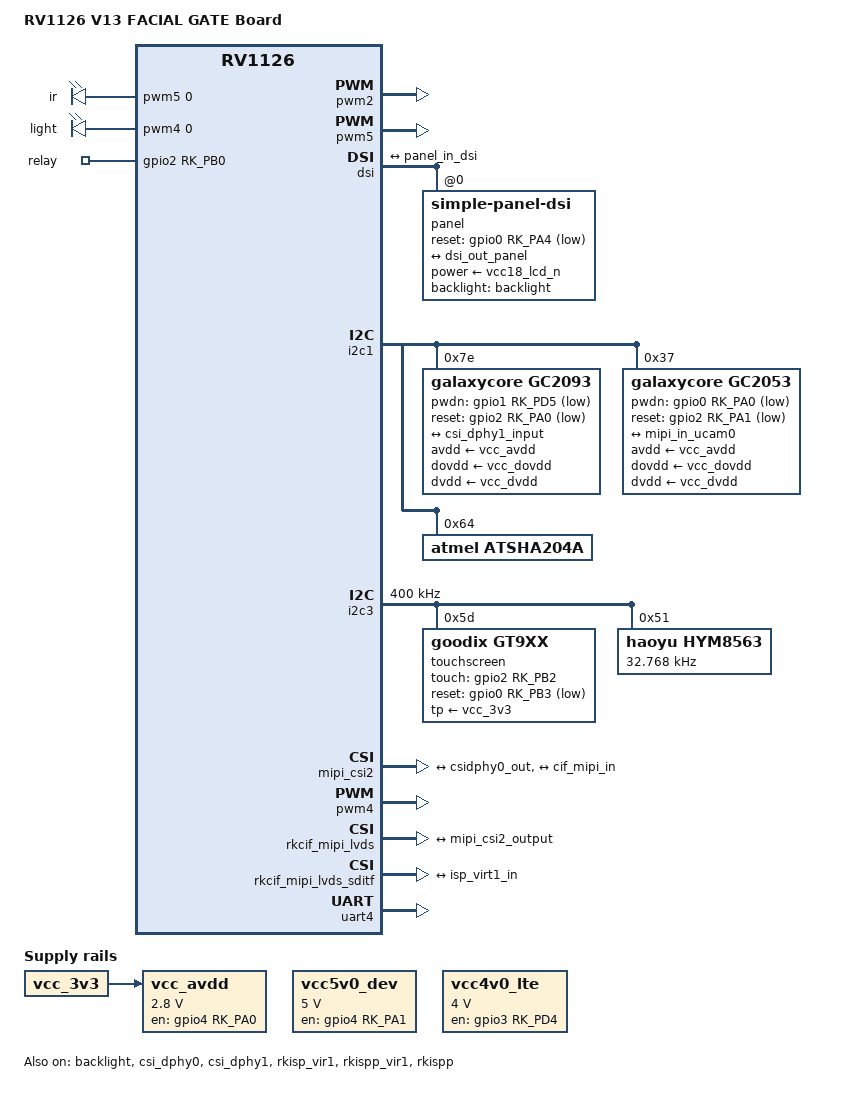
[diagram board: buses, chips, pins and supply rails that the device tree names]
// SPDX-License-Identifier: (GPL-2.0+ OR MIT)
/*
 * Copyright (c) 2020 Rockchip Electronics Co., Ltd.
 */
/dts-v1/;
#include "rv1126.dtsi"
#include "rv1126-evb-v12.dtsi"
/ {
	model = "RV1126 V13 FACIAL GATE Board";
	compatible = "rockchip,rv1109-evb-ddr3-v12-facial-gate", "rockchip,rv1126";

	chosen {
		bootargs = "earlycon=uart8250,mmio32,0xff570000 console=ttyFIQ0 root=PARTUUID=614e0000-0000 rootfstype=ext4 rootwait snd_aloop.index=7";
	};

	pwmleds {
		compatible = "pwm-leds";

		pwmi_ir {
			label = "ir";
			pwms = <&pwm5 0 25000 0>;
			max-brightness = <255>;
		};

		pwmi_light {
			label = "light";
			pwms = <&pwm4 0 25000 0>;
			max-brightness = <255>;
		};
	};

    gpio-leds {
        compatible = "gpio-leds";

        relay {
            label = "relay";
            gpios = <&gpio2 RK_PB0 GPIO_ACTIVE_HIGH>;
        };
    };

	vcc5v0_dev: vcc5v0-dev {
		compatible = "regulator-fixed";
		regulator-name = "vcc5v0_dev";
		gpio = <&gpio4 RK_PA1 GPIO_ACTIVE_HIGH>;
		enable-active-high;
		regulator-always-on;
		regulator-boot-on;
		regulator-min-microvolt = <5000000>;
		regulator-max-microvolt = <5000000>;
	};

	vcc_avdd: vcc-avdd {
		compatible = "regulator-fixed";
		regulator-name = "vcc_avdd";
		gpio = <&gpio4 RK_PA0 GPIO_ACTIVE_HIGH>;
		enable-active-high;
        regulator-boot-on;
        vin-supply = <&vcc_3v3>;
		regulator-min-microvolt = <2800000>;
		regulator-max-microvolt = <2800000>;
	};

	vcc4v0_lte: vcc4v0-lte {
		compatible = "regulator-fixed";
		regulator-name = "vcc4v0_lte";
		gpio = <&gpio3 RK_PD4 GPIO_ACTIVE_HIGH>;
		enable-active-high;
		regulator-always-on;
		regulator-boot-on;
		regulator-min-microvolt = <4000000>;
		regulator-max-microvolt = <4000000>;
	};
};

&pinctrl {
    lcd_rst {
        lcd_rst_gpio: lcd-rst-gpio {
            rockchip,pins = <0 RK_PA4 RK_FUNC_GPIO &pcfg_pull_none>;
        };
    };

    dev_pwr {
        dev_pwr_en: dev-pwr-en {
            rockchip,pins = <4 RK_PA1 RK_FUNC_GPIO &pcfg_pull_none>;
        };
    };
};

&pwm2 {
	status = "okay";
};

&pwm5 {
	status = "okay";
	pinctrl-names = "active";
	pinctrl-0 = <&pwm5m0_pins_pull_down>;
};

&backlight {
    pwms = <&pwm2 0 25000 0>;
	status = "okay";
};

&vcc18_lcd_n {
    gpio = <&gpio1 RK_PD0 GPIO_ACTIVE_HIGH>;
    vin-supply = <&vcc3v3_sys>;
};

&dsi {
	status = "okay";

    rockchip,lane-rate = <480>;
	panel@0 {
		compatible = "simple-panel-dsi";
		reg = <0>;
		backlight = <&backlight>;
		power-supply = <&vcc18_lcd_n>;
		prepare-delay-ms = <5>;
		reset-delay-ms = <1>;
		init-delay-ms = <80>;
		disable-delay-ms = <10>;
		unprepare-delay-ms = <5>;

        reset-gpios = <&gpio0 RK_PA4 GPIO_ACTIVE_LOW>;
        pinctrl-names = "default";
        pinctrl-0 = <&lcd_rst_gpio>;

		width-mm = <107>;
		height-mm = <172>;

		dsi,flags = <(MIPI_DSI_MODE_VIDEO | MIPI_DSI_MODE_VIDEO_BURST |
			      MIPI_DSI_MODE_LPM | MIPI_DSI_MODE_EOT_PACKET)>;
		dsi,format = <MIPI_DSI_FMT_RGB888>;
		dsi,lanes = <4>;

        panel-init-sequence = [
			15 00 02 ee 50
			39 00 03 ea 85 55
			15 00 02 30 00
			39 00 04 39 02 07 10
			39 00 03 90 a1 b1
			15 00 02 24 20
			15 00 02 99 00
			15 00 02 93 38
			15 00 02 95 74
			15 00 02 97 05
			15 00 02 7a 00
			15 00 02 ee 60
			15 00 02 21 01
			15 00 02 25 70
			15 00 02 27 24
			15 00 02 29 89
			15 00 02 2a 26
			15 00 02 30 01
			15 00 02 34 2f
			15 00 02 3a a4
			15 00 02 3b 00
			15 00 02 3c 45
			15 00 02 3d 11
			15 00 02 3e 93
			15 00 02 42 55
			15 00 02 43 55
			15 00 02 7f 24
			15 00 02 80 24
			15 00 02 89 55
			15 00 02 8b 90
			15 00 02 8d 45
			15 00 02 91 11
			15 00 02 92 22
			15 00 02 93 93
			15 00 02 9a 00
			15 00 02 9c 80
			39 00 06 5a 15 2f 38 41 42
			39 00 06 47 15 2f 38 41 42
			39 00 06 4c 4f 4a 5f 47 49
			39 00 06 5f 4f 4a 5f 47 49
			39 00 06 64 4b 2f 41 39 43
			39 00 06 51 4b 2f 41 39 43
			39 00 05 69 45 4f 5e 7f
			39 00 05 56 45 4f 5e 7f
			15 00 02 ee 70
			39 00 06 00 01 04 00 01 05
			39 00 06 05 08 55 01 00 00
			39 00 06 0a 00 00 05 5a 00
			39 00 06 10 03 06 00 01 00
			39 00 06 15 00 0f 0d 08 00
			39 00 03 29 05 5a
			39 00 06 30 08 07 55 7d 5d
			39 00 06 35 08 07 08 55 7d
			39 00 03 3a 5d 08
			39 00 06 60 3f 3c 20 21 10
			39 00 06 65 12 14 16 00 3c
			39 00 06 6a 3c 3c 3c 3c 3c
			39 00 06 6f 04 3c 3c 3c 3c
			39 00 03 74 3c 3c
			39 00 06 80 3f 3c 20 21 11
			39 00 06 85 13 15 17 01 3c
			39 00 06 8a 3c 3c 3c 3c 3c
			39 00 06 8f 05 3c 3c 3c 3c
			39 00 03 94 3c 3c
			15 00 02 ee 50
			39 00 03 ea 7a aa
			39 00 03 ea 00 00
			15 00 02 ee 00
			05 64 01 11
			05 64 01 29
            ];

        display-timings {
			native-mode = <&timing0>;

			timing0: timing0 {
				clock-frequency = <77000000>;
				hactive = <800>;
				vactive = <1280>;
				hfront-porch = <140>;
				hsync-len = <20>;
				hback-porch = <20>;
				vfront-porch = <9>;
				vsync-len = <4>;
				vback-porch = <8>;
				hsync-active = <0>;
				vsync-active = <0>;
				de-active = <0>;
				pixelclk-active = <0>;
			};
		};

		ports {
			#address-cells = <1>;
			#size-cells = <0>;

			port@0 {
				reg = <0>;
				panel_in_dsi: endpoint {
					remote-endpoint = <&dsi_out_panel>;
				};
			};
		};
	};

	ports {
		#address-cells = <1>;
		#size-cells = <0>;

		port@1 {
			reg = <1>;
			dsi_out_panel: endpoint {
				remote-endpoint = <&panel_in_dsi>;
			};
		};
	};
};

&csi_dphy0 {
	status = "okay";
	ports {
		port@0 {
			mipi_in_ucam0: endpoint@1 {
				remote-endpoint = <&ucam_out0>;
				data-lanes = <1 2>;
			};
		};
		port@1 {
			csidphy0_out: endpoint@0 {
				remote-endpoint = <&mipi_csi2_input>;
				data-lanes = <1 2>;
			};
		};
	};
};

&csi_dphy1 {
	status = "okay";
	ports {
		port@0 {
			csi_dphy1_input: endpoint@1 {
				remote-endpoint = <&ucam_out1>;
				data-lanes = <1 2>;
			};
		};
		port@1 {
			csi_dphy1_output: endpoint@0 {
				remote-endpoint = <&isp_in>;
				data-lanes = <1 2>;
			};
		};
	};
};

&i2c1 {
    /delete-node/ ar0230@10;
    /delete-node/ os04a10@36;
    /delete-node/ ov4689@36;

	gc2093: gc2093@7e {
		compatible = "galaxycore,gc2093";
		reg = <0x7e>;
		clocks = <&cru CLK_MIPICSI_OUT>;
		clock-names = "xvclk";
		power-domains = <&power RV1126_PD_VI>;
		pinctrl-names = "rockchip,camera_default";
		pinctrl-0 = <&mipicsi_clk1>;
		avdd-supply = <&vcc_avdd>;
		dovdd-supply = <&vcc_dovdd>;
		dvdd-supply = <&vcc_dvdd>;
        pwdn-gpios = <&gpio1 RK_PD5 GPIO_ACTIVE_LOW>;
        reset-gpios = <&gpio2 RK_PA0 GPIO_ACTIVE_LOW>;
		rockchip,camera-module-index = <1>;
		rockchip,camera-module-facing = "front";
		rockchip,camera-module-name = "YT-RV1109-2-V1";
		rockchip,camera-module-lens-name = "40IR-2MP-F20";
		port {
			ucam_out1: endpoint {
				remote-endpoint = <&csi_dphy1_input>;
				data-lanes = <1 2>;
			};
		};
	};

	gc2053: gc2053@37 {
		compatible = "galaxycore,gc2053";
		reg = <0x37>;

		clocks = <&cru CLK_MIPICSI_OUT>;
		clock-names = "xvclk";

		power-domains = <&power RV1126_PD_VI>;
		pinctrl-names = "rockchip,camera_default";
		pinctrl-0 = <&mipicsi_clk0>;
		pwdn-gpios = <&gpio0 RK_PA0 GPIO_ACTIVE_LOW>;
		reset-gpios = <&gpio2 RK_PA1 GPIO_ACTIVE_LOW>;

		avdd-supply = <&vcc_avdd>;
		dovdd-supply = <&vcc_dovdd>;
		dvdd-supply = <&vcc_dvdd>;

		rockchip,camera-module-index = <0>;
		rockchip,camera-module-facing = "front";
		rockchip,camera-module-name = "YT-RV1109-2-V1";
		rockchip,camera-module-lens-name = "40IR-2MP-F20";
		port {
			ucam_out0: endpoint {
				remote-endpoint = <&mipi_in_ucam0>;
				data-lanes = <1 2>;
			};
		};
	};

    atsha204a: atsha204a@64 {
		compatible = "atmel,atsha204a";
		reg = <0x64>;
    };
};

&i2c3 {
    status = "okay";
    clock-frequency = <400000>;
    pinctrl-names = "default";
    pinctrl-0 = <&i2c3m2_xfer>;

    touchscreen: ts@5d {
        compatible = "goodix,gt9xx";
        reg = <0x5d>;
        touch-gpio = <&gpio2 RK_PB2 IRQ_TYPE_LEVEL_LOW>;
        reset-gpio = <&gpio0 RK_PB3 GPIO_ACTIVE_LOW>;
        max-x = <1280>;
        max-y = <800>;
        tp-size = <911>;
        tp-supply = <&vcc_3v3>;
        status = "okay";
    };

    hym8563: hym8563@51 {
        compatible = "haoyu,hym8563";
        reg = <0x51>;

        #clock-cells = <0>;
        clock-frequency = <32768>;
        clock-output-names = "xin32k";
    };
};

&i2c5 {
    status = "disable";
};

/* isp cma buffer don't fiddle with it, dual camera(1920 * 1080) need 92M buffer */
&isp_reserved {
    size = <0x20000000>;
};

&mipi_csi2 {
	status = "okay";
	ports {
		port@0 {
			mipi_csi2_input: endpoint@1 {
				remote-endpoint = <&csidphy0_out>;
				data-lanes = <1 2>;
			};
		};

		port@1 {
			mipi_csi2_output: endpoint@0 {
				remote-endpoint = <&cif_mipi_in>;
				data-lanes = <1 2>;
			};
		};
	};
};

&pwm4 {
	status = "okay";
	pinctrl-names = "active";
	pinctrl-0 = <&pwm4m0_pins_pull_down>;
};

&rk809 {
	regulators {
        /delete-node/ LDO_REG7;
		vcc_dvdd: LDO_REG6 {
			regulator-min-microvolt = <1300000>;
			regulator-max-microvolt = <1300000>;
		};
    };
};

&rkcif_mipi_lvds {
	status = "okay";
	port {
		cif_mipi_in: endpoint {
			remote-endpoint = <&mipi_csi2_output>;
			data-lanes = <1 2>;
		};
	};
};

&rkcif_mipi_lvds_sditf {
	status = "okay";

	port {
		cif_sditf: endpoint {
			remote-endpoint = <&isp_virt1_in>;
			data-lanes = <1 2 3 4>;
		};
	};
};

&rkisp_vir0 {
	ports {
		port@0 {
			isp_in: endpoint@0 {
				remote-endpoint = <&csi_dphy1_output>;
			};
		};
	};
};

&rkisp_vir1 {
	status = "okay";
	ports {
		port@0 {
			reg = <0>;
			#address-cells = <1>;
			#size-cells = <0>;

			isp_virt1_in: endpoint@0 {
				reg = <0>;
				remote-endpoint = <&cif_sditf>;
			};
		};
	};
};

&rkispp_vir1 {
	status = "okay";
};

&rkispp {
	status = "okay";
	/* the max input w h and fps of mulit sensor */
	max-input = <1920 1080 30>;
};

&uart4 {
    status = "okay";
    pinctrl-names = "default";
    pinctrl-0 = <&uart4m1_xfer>;
};

&sdio_pwrseq{
    clocks = <&hym8563>;
    clock-names = "ext_clock";
};
